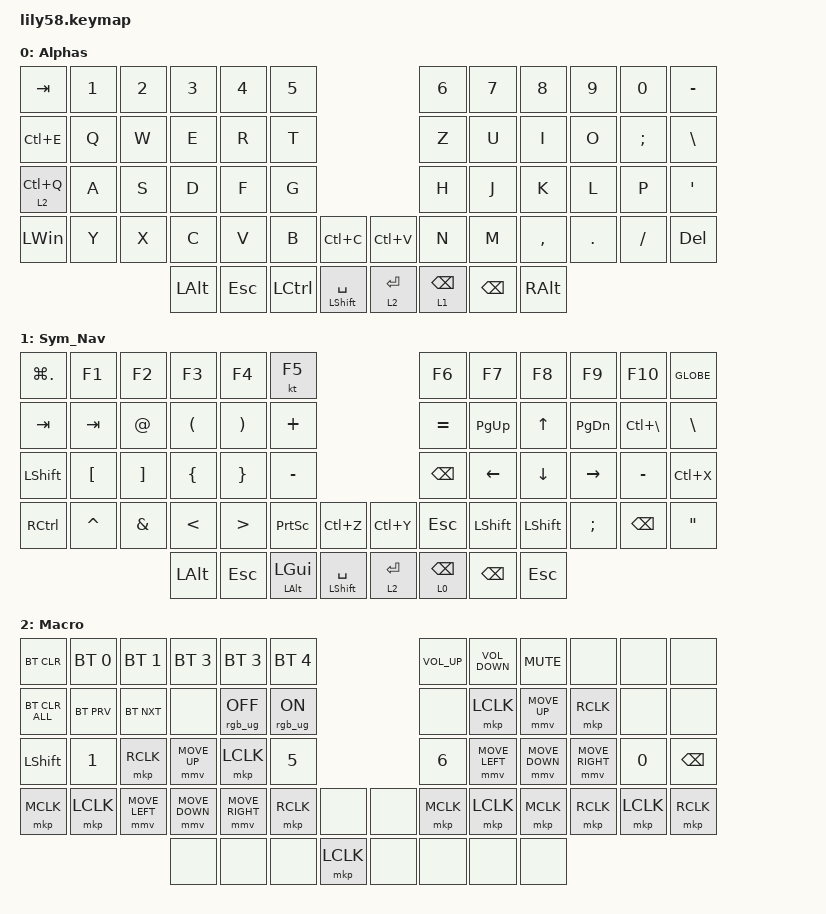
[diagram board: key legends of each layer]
/*
 * Copyright (c) 2020 The ZMK Contributors
 *
 * SPDX-License-Identifier: MIT
 */

#define ZMK_POINTING_DEFAULT_MOVE_VAL 1500  // default: 600
#define ZMK_POINTING_DEFAULT_SCRL_VAL 20    // default: 10

#include <behaviors.dtsi>
#include <dt-bindings/zmk/bt.h>
#include <dt-bindings/zmk/keys.h>
#include <dt-bindings/zmk/pointing.h>
#include <dt-bindings/zmk/rgb.h>

/ { 
    behaviors {
        hm: homerow_mods {
            compatible = "zmk,behavior-hold-tap";
            #binding-cells = <2>;
            tapping-term-ms = <150>;
            quick-tap-ms = <0>;
            flavor = "tap-preferred";
            bindings = <&kp>, <&kp>;
        };
    
    keymap {
        compatible = "zmk,keymap";

        default_layer {
            // ------------------------------------------------------------------------------------------------------------
            // |  ESC  |  1  |  2  |  3   |  4   |  5   |                   |  6   |  7    |  8    |  9   |   0   |   `   |
            // |  TAB  |  Q  |  W  |  E   |  R   |  T   |                   |  Y   |  U    |  I    |  O   |   P   |   -   |
            // |  CTRL |  A  |  S  |  D   |  F   |  G   |                   |  H   |  J    |  K    |  L   |   ;   |   '   |
            // | SHIFT |  Z  |  X  |  C   |  V   |  B   |   "["  |  |  "]"  |  N   |  M    |  ,    |  .   |   /   | SHIFT |
            //                     | ALT  | GUI  | LOWER|  SPACE |  | ENTER | RAISE| BSPC  | GUI   |

            display-name = "Alphas";
            bindings = <
&kp TAB       &kp N1  &kp N2  &kp N3        &kp N4      &kp N5                                          &kp N6           &kp N7         &kp N8         &kp N9   &kp N0         &kp MINUS
&kp LC(E)     &kp Q   &kp W   &kp E         &kp R       &kp T                                           &kp Z            &kp U          &kp I          &kp O    &kp SEMICOLON  &kp BACKSLASH
&lt 2 LC(Q)   &kp A   &kp S   &kp D         &kp F       &kp G                                           &kp H            &kp J          &kp K          &kp L    &kp P          &kp APOS
&kp LEFT_WIN  &kp Y   &kp X   &kp C         &kp V       &kp B      &kp LC(C)               &kp LC(V)    &kp N            &kp M          &kp COMMA      &kp DOT  &kp SLASH      &kp DEL
                              &kp LEFT_ALT  &kp ESCAPE  &kp LCTRL  &mt LEFT_SHIFT SPACE    &lt 2 ENTER  &lt 1 BACKSPACE  &kp BACKSPACE  &kp RIGHT_ALT
            >;

            label = "Alphas";
        };

        Sym_Nav_Layer {
            bindings = <
&kp LG(DOT)     &kp F1            &kp F2             &kp F3                &kp F4                 &kt F5                                                      &kp F6           &kp F7          &kp F8          &kp F9         &kp F10            &kp GLOBE
&kp TAB         &kp TAB           &kp AT_SIGN        &kp LEFT_PARENTHESIS  &kp RIGHT_PARENTHESIS  &kp PLUS                                                    &kp EQUAL        &kp PAGE_UP     &kp UP_ARROW    &kp PAGE_DOWN  &kp LC(BACKSLASH)  &kp BSLH
&kp LEFT_SHIFT  &kp LEFT_BRACKET  &kp RIGHT_BRACKET  &kp LEFT_BRACE        &kp RIGHT_BRACE        &kp MINUS                                                   &kp BACKSPACE    &kp LEFT        &kp DOWN        &kp RIGHT      &kp MINUS          &kp LC(X)
&kp RCTRL       &kp CARET         &kp AMPS           &kp LESS_THAN         &kp GREATER_THAN       &kp PRINTSCREEN        &kp LC(Z)               &kp LC(Y)    &kp ESCAPE       &kp LEFT_SHIFT  &kp LEFT_SHIFT  &kp SEMI       &kp BACKSPACE      &kp DOUBLE_QUOTES
                                                     &kp LALT              &kp ESCAPE             &mt LEFT_ALT LEFT_GUI  &mt LEFT_SHIFT SPACE    &lt 2 ENTER  &lt 0 BACKSPACE  &kp BACKSPACE   &kp ESCAPE
            >;

            label = "Sym_Nav";
        };

        macro_layer {
            display-name = "Macro";
            bindings = <
&bt BT_CLR      &bt BT_SEL 0  &bt BT_SEL 1    &bt BT_SEL 3    &bt BT_SEL 3     &bt BT_SEL 4                        &kp C_VOLUME_UP  &kp C_VOLUME_DOWN  &kp K_MUTE      &none            &none      &none
&bt BT_CLR_ALL  &bt BT_PRV    &bt BT_NXT      &none           &rgb_ug RGB_OFF  &rgb_ug RGB_ON                      &none            &mkp LCLK          &mmv MOVE_UP    &mkp RCLK        &none      &none
&kp LEFT_SHIFT  &kp NUMBER_1  &mkp RCLK       &mmv MOVE_UP    &mkp LCLK        &kp N5                              &kp NUMBER_6     &mmv MOVE_LEFT     &mmv MOVE_DOWN  &mmv MOVE_RIGHT  &kp N0     &kp BACKSPACE
&mkp MCLK       &mkp LCLK     &mmv MOVE_LEFT  &mmv MOVE_DOWN  &mmv MOVE_RIGHT  &mkp RCLK       &none        &none  &mkp MCLK        &mkp LCLK          &mkp MCLK       &mkp RCLK        &mkp LCLK  &mkp RCLK
                                              &none           &none            &none           &mkp LCLK    &none  &none            &none              &none
            >;

            label = "Macro";
        };
    };
};
